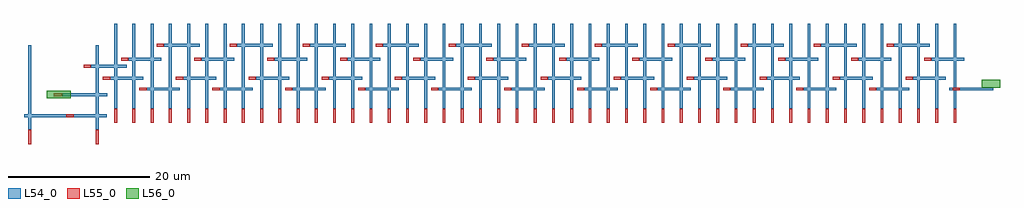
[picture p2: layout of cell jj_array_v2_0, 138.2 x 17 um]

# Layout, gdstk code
import gdstk
lib = gdstk.Library(unit=1e-6, precision=1e-09)
def R(c, l, rs):  # rectangles x0, y0, x1, y1
    for r in rs: c.add(gdstk.rectangle(r[:2], r[2:], *l))
def A(c, l, x, y, w, h, nx, ny, dx, dy):  # array of equal rectangles
    R(c, l, [(x+i*dx, y+j*dy, x+i*dx+w, y+j*dy+h) for i in range(nx) for j in range(ny)])
L54_0 = (54, 0)
L55_0 = (55, 0)
L56_0 = (56, 0)

jj_array_v2_0 = lib.new_cell('jj_array_v2_0')
A(jj_array_v2_0, L54_0, -58.133, -6, 0.41, 12, 3, 1, 2.584, 0)
A(jj_array_v2_0, L54_0, -50.382, -6, 0.41, 12, 3, 1, 2.584, 0)
A(jj_array_v2_0, L54_0, -42.631, -6, 0.41, 12, 3, 1, 2.584, 0)
A(jj_array_v2_0, L54_0, -34.88, -6, 0.41, 12, 3, 1, 2.584, 0)
A(jj_array_v2_0, L54_0, -27.129, -6, 0.41, 12, 3, 1, 2.584, 0)
A(jj_array_v2_0, L54_0, -19.378, -6, 0.41, 12, 3, 1, 2.584, 0)
A(jj_array_v2_0, L54_0, -11.627, -6, 0.41, 12, 3, 1, 2.584, 0)
A(jj_array_v2_0, L54_0, -3.876, -6, 0.41, 12, 4, 1, 2.584, 0)
A(jj_array_v2_0, L54_0, 6.459, -6, 0.41, 12, 3, 1, 2.584, 0)
A(jj_array_v2_0, L54_0, 14.21, -6, 0.41, 12, 3, 1, 2.584, 0)
A(jj_array_v2_0, L54_0, 21.961, -6, 0.41, 12, 3, 1, 2.584, 0)
A(jj_array_v2_0, L54_0, 29.712, -6, 0.41, 12, 3, 1, 2.584, 0)
A(jj_array_v2_0, L54_0, 37.463, -6, 0.41, 12, 3, 1, 2.584, 0)
A(jj_array_v2_0, L54_0, 45.214, -6, 0.41, 12, 3, 1, 2.584, 0)
A(jj_array_v2_0, L54_0, 52.965, -6, 0.41, 12, 3, 1, 2.584, 0)
A(jj_array_v2_0, L54_0, -32.892, -3.41, 4.696, 0.41, 3, 1, 10.335, 0)
A(jj_array_v2_0, L54_0, 8.447, -3.41, 4.696, 0.41, 3, 1, 10.335, 0)
A(jj_array_v2_0, L54_0, -48.394, -1.91, 4.696, 0.41, 3, 1, 10.335, 0)
A(jj_array_v2_0, L54_0, 23.949, -1.91, 4.696, 0.41, 3, 1, 10.335, 0)
A(jj_array_v2_0, L54_0, -56.145, 0.795, 4.696, 0.41, 3, 1, 10.335, 0)
A(jj_array_v2_0, L54_0, 16.198, 0.795, 4.696, 0.41, 3, 1, 10.335, 0)
A(jj_array_v2_0, L54_0, -51.107, 2.795, 5.084, 0.41, 3, 1, 10.335, 0)
A(jj_array_v2_0, L54_0, -20.102, 2.795, 5.083, 0.41, 3, 1, 31.004, 0)
R(jj_array_v2_0, L54_0, [(-70.3,-9,-69.89,3), (-60.716,-9,-60.306,3), (-70.896,-7.21,-59.2,-6.8), (60.716,-6,61.126,6), (-65.5,-4.205,-59.09,-3.795), (-53.561,-3.41,-48.865,-3), (-43.226,-3.41,-38.53,-3), (-1.888,-3.41,2.809,-3), (39.451,-3.41,44.147,-3), (49.786,-3.41,54.482,-3), (60.121,-3.41,66.317,-3), (-58.728,-1.91,-54.032,-1.5), (-17.39,-1.91,-12.693,-1.5), (-7.055,-1.91,-2.359,-1.5), (3.28,-1.91,7.976,-1.5), (13.614,-1.91,18.311,-1.5), (54.953,-1.91,59.649,-1.5), (-61.441,-0.205,-56.358,0.205), (-25.141,0.795,-20.444,1.205), (-14.806,0.795,-10.11,1.205), (-4.471,0.795,0.225,1.205), (5.863,0.795,10.56,1.205), (47.202,0.795,51.898,1.205), (57.537,0.795,62.233,1.205), (-9.768,2.795,-4.684,3.205), (0.567,2.795,5.651,3.205), (21.236,2.795,26.32,3.205), (31.571,2.795,36.655,3.205), (52.24,2.795,57.324,3.205)])
A(jj_array_v2_0, L55_0, -58.133, -8, 0.41, 2, 3, 1, 2.584, 0)
A(jj_array_v2_0, L55_0, -50.382, -8, 0.41, 2, 3, 1, 2.584, 0)
A(jj_array_v2_0, L55_0, -42.631, -8, 0.41, 2, 3, 1, 2.584, 0)
A(jj_array_v2_0, L55_0, -34.88, -8, 0.41, 2, 3, 1, 2.584, 0)
A(jj_array_v2_0, L55_0, -27.129, -8, 0.41, 2, 3, 1, 2.584, 0)
A(jj_array_v2_0, L55_0, -19.378, -8, 0.41, 2, 3, 1, 2.584, 0)
A(jj_array_v2_0, L55_0, -11.627, -8, 0.41, 2, 3, 1, 2.584, 0)
A(jj_array_v2_0, L55_0, -3.876, -8, 0.41, 2, 4, 1, 2.584, 0)
A(jj_array_v2_0, L55_0, 6.459, -8, 0.41, 2, 3, 1, 2.584, 0)
A(jj_array_v2_0, L55_0, 14.21, -8, 0.41, 2, 3, 1, 2.584, 0)
A(jj_array_v2_0, L55_0, 21.961, -8, 0.41, 2, 3, 1, 2.584, 0)
A(jj_array_v2_0, L55_0, 29.712, -8, 0.41, 2, 3, 1, 2.584, 0)
A(jj_array_v2_0, L55_0, 37.463, -8, 0.41, 2, 3, 1, 2.584, 0)
A(jj_array_v2_0, L55_0, 45.214, -8, 0.41, 2, 3, 1, 2.584, 0)
A(jj_array_v2_0, L55_0, 52.965, -8, 0.41, 2, 3, 1, 2.584, 0)
A(jj_array_v2_0, L55_0, -33.88, -3.41, 1, 0.41, 3, 1, 10.335, 0)
A(jj_array_v2_0, L55_0, -2.876, -3.41, 1, 0.41, 4, 1, 10.335, 0)
A(jj_array_v2_0, L55_0, -49.382, -1.91, 1, 0.41, 3, 1, 10.335, 0)
A(jj_array_v2_0, L55_0, -18.378, -1.91, 1, 0.41, 4, 1, 10.335, 0)
A(jj_array_v2_0, L55_0, 22.961, -1.91, 1, 0.41, 3, 1, 10.335, 0)
A(jj_array_v2_0, L55_0, -57.133, 0.795, 1, 0.41, 3, 1, 10.335, 0)
A(jj_array_v2_0, L55_0, -26.129, 0.795, 1, 0.41, 4, 1, 10.335, 0)
A(jj_array_v2_0, L55_0, 15.21, 0.795, 1, 0.41, 3, 1, 10.335, 0)
A(jj_array_v2_0, L55_0, -52.09, 2.795, 1, 0.41, 3, 1, 10.335, 0)
A(jj_array_v2_0, L55_0, -21.086, 2.795, 1, 0.41, 3, 1, 10.335, 0)
A(jj_array_v2_0, L55_0, 9.918, 2.795, 1, 0.41, 3, 1, 10.335, 0)
R(jj_array_v2_0, L55_0, [(-70.3,-11,-69.89,-9), (-60.716,-11,-60.306,-9), (60.716,-8,61.126,-6), (-64.884,-7.21,-63.884,-6.8), (-66.66,-4.205,-65.46,-3.795), (-54.549,-3.41,-53.549,-3), (-44.214,-3.41,-43.214,-3), (38.463,-3.41,39.463,-3), (48.798,-3.41,49.798,-3), (60.633,-3.41,61.633,-3), (-59.716,-1.91,-58.716,-1.5), (53.965,-1.91,54.965,-1.5), (-62.424,-0.205,-61.424,0.205), (46.214,0.795,47.214,1.205), (56.549,0.795,57.549,1.205), (40.922,2.795,41.922,3.205), (51.257,2.795,52.257,3.205)])
R(jj_array_v2_0, L56_0, [(-67.7,-4.55,-64.3,-3.45), (64.7,-3,67.3,-1.9)])

lib.write_gds('jj_array_v2_0.gds')
